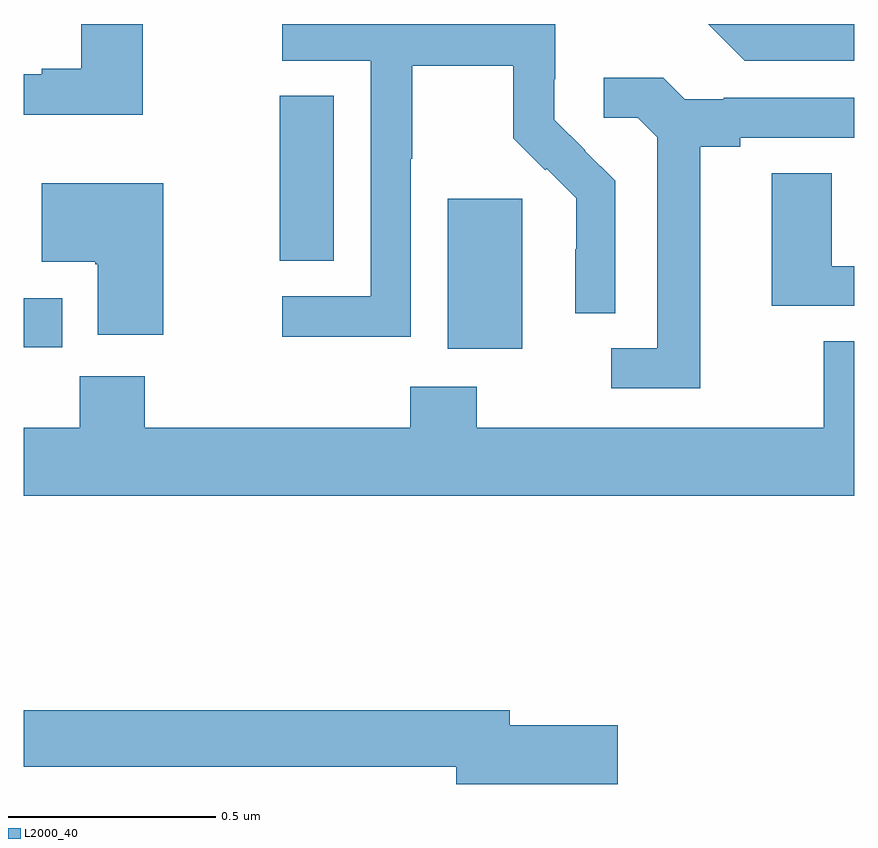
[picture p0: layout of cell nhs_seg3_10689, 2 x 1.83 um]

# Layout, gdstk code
import gdstk
lib = gdstk.Library(unit=1e-6, precision=1e-09)
def R(c, l, rs):  # rectangles x0, y0, x1, y1
    for r in rs: c.add(gdstk.rectangle(r[:2], r[2:], *l))
def P(c, l, *ps):  # polygons
    for p in ps: c.add(gdstk.Polygon(p, *l))
L2000_40 = (2000, 40)

nhs_seg3_10689 = lib.new_cell('nhs_seg3_10689')
R(nhs_seg3_10689, L2000_40, [(245.021,686.618,245.2,686.979), (244,686.622,244.093,686.74), (244.616,686.83,244.747,687.227)])
P(nhs_seg3_10689, L2000_40, [(244.932,687.076),(244.935,687.076),(244.935,687.3),(245.179,687.3),(245.179,687.125),(245.256,687.048),(245.259,687.051),(245.33,686.981),(245.33,686.858),(245.328,686.858),(245.328,686.704),(245.424,686.704),(245.424,687.022),(245.351,687.095),(245.352,687.096),(245.278,687.17),(245.278,687.267),(245.28,687.267),(245.28,687.4),(244.623,687.4),(244.623,687.312),(244.836,687.312),(244.836,686.745),(244.623,686.745),(244.623,686.647),(244.932,686.647)],
  [(246,687.4),(245.648,687.4),(245.736,687.312),(246,687.312)],
  [(244.287,687.4),(244.139,687.4),(244.139,687.292),(244.043,687.292),(244.043,687.279),(244,687.279),(244,687.182),(244.287,687.182)],
  [(245.629,687.104),(245.725,687.104),(245.725,687.126),(246,687.126),(246,687.222),(245.686,687.222),(245.686,687.219),(245.592,687.219),(245.54,687.271),(245.397,687.271),(245.397,687.174),(245.478,687.174),(245.525,687.127),(245.525,686.619),(245.415,686.619),(245.415,686.523),(245.629,686.523)],
  [(246,686.817),(245.946,686.817),(245.946,687.041),(245.801,687.041),(245.801,686.721),(246,686.721)],
  [(244.336,687.016),(244.043,687.016),(244.043,686.828),(244.172,686.828),(244.172,686.822),(244.178,686.822),(244.178,686.652),(244.336,686.652)],
  [(246,686.636),(245.927,686.636),(245.927,686.428),(245.091,686.428),(245.091,686.527),(244.931,686.527),(244.931,686.428),(244.292,686.428),(244.292,686.552),(244.135,686.552),(244.135,686.428),(244,686.428),(244,686.264),(246,686.264)],
  [(245.431,685.712),(245.17,685.712),(245.17,685.748),(244,685.748),(244,685.612),(245.042,685.612),(245.042,685.57),(245.431,685.57)])

lib.write_gds('nhs_seg3_10689.gds')
